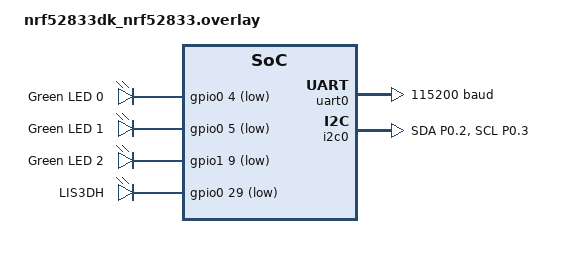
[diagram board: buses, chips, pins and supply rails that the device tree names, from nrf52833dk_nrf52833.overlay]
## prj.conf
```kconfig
CONFIG_BT=y
CONFIG_GPIO=y
CONFIG_BT_DEBUG_LOG=y
CONFIG_BT_EXT_ADV=y
CONFIG_PM=y
CONFIG_PM_DEVICE=y
CONFIG_CBPRINTF_FP_SUPPORT=y
CONFIG_I2C=y
CONFIG_SENSOR=y
CONFIG_LOG=y
CONFIG_SERIAL=y
CONFIG_SENSOR_LOG_LEVEL_DBG=y
CONFIG_MULTITHREADING=y
CONFIG_STDOUT_CONSOLE=y

CONFIG_ADC=y
CONFIG_DEBUG_OPTIMIZATIONS=y
CONFIG_COMPILER_OPT=""
CONFIG_MAIN_STACK_SIZE=16365
CONFIG_IDLE_STACK_SIZE=1024
CONFIG_ISR_STACK_SIZE=4096
CONFIG_BT_CTLR_ADV_DATA_LEN_MAX=128
CONFIG_BT_PERIPHERAL=y

# ////////////////////////////////////////
# LE coded
CONFIG_BT=y
CONFIG_BT_EXT_ADV=y
CONFIG_BT_PER_ADV=y
CONFIG_BT_DEBUG_LOG=y
CONFIG_BT_DEVICE_NAME="My Device"
CONFIG_LOG=y
CONFIG_BT_CTLR_ADV_DATA_LEN_MAX=1650
CONFIG_SENSOR_LOG_LEVEL_DBG=y
CONFIG_BT_CTLR_PHY_CODED=y
CONFIG_PM=y
CONFIG_PM_DEVICE=y
CONFIG_CBPRINTF_FP_SUPPORT=y
CONFIG_I2C=y
CONFIG_SENSOR=y
# CONFIG_SHT4X=y

CONFIG_SERIAL=y
CONFIG_SENSOR_LOG_LEVEL_DBG=y
CONFIG_MULTITHREADING=y
CONFIG_STDOUT_CONSOLE=y
CONFIG_LIS2DH=y
CONFIG_PWM=y
CONFIG_LIS2DH_OPER_MODE_LOW_POWER=y 
CONFIG_LIS2DH_ACCEL_RANGE_2G=y
CONFIG_BT_CTLR_ADV_DATA_LEN_MAX=1650
CONFIG_ADC=y

CONFIG_DEBUG_OPTIMIZATIONS=y
CONFIG_DEBUG_THREAD_INFO=y
CONFIG_GPIO=y
CONFIG_GPIO_NRFX=y


#CONFIG_BT_CTLR_TX_PWR_0=y

#CONFIG_BT_CTLR_TX_PWR_PLUS_4=y

CONFIG_BT_CTLR_TX_PWR_PLUS_8=y

#CONFIG_BT_CTLR_TX_PWR_MINUS_4=y

#CONFIG_BT_CTLR_TX_PWR_MINUS_8=y

#CONFIG_BT_CTLR_TX_PWR_MINUS_12=y

#CONFIG_BT_CTLR_TX_PWR_MINUS_16=y

#CONFIG_BT_CTLR_TX_PWR_MINUS_20=y
```

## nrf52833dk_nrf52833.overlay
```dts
// To get started, press Ctrl+Space to bring up the completion menu and view the available nodes.

// You can also use the buttons in the sidebar to perform actions on nodes.
// Actions currently available include:

// * Enabling / disabling the node
// * Adding the bus to a bus
// * Removing the node
// * Connecting ADC channels

// For more help, browse the DeviceTree documentation at https://docs.zephyrproject.org/latest/guides/dts/index.html
// You can also visit the nRF DeviceTree extension documentation at https://nrfconnect.github.io/vscode-nrf-connect/devicetree/nrfdevicetree.html
&uart0 {
	status = "okay";
	current-speed = < 115200 >;
};

// &pinctrl {
//     uart0_default: uart0_default {
//         group1 {
//             psels = <NRF_PSEL(UART_TX, 0, 24)>,
//                 <NRF_PSEL(UART_RX, 0, 23)>,
//                 <NRF_PSEL(UART_RTS, 0, 5)>,
//                 <NRF_PSEL(UART_CTS, 0, 7)>;
//         };
//     };

//     uart0_sleep: uart0_sleep {
//         group1 {
//             psels = <NRF_PSEL(UART_TX, 0,24)>,
//                 <NRF_PSEL(UART_RX, 0, 23)>,
//                 <NRF_PSEL(UART_RTS, 0, 5)>,
//                 <NRF_PSEL(UART_CTS, 0, 7)>;
//             low-power-enable;
//         };
//     };
// };







// -----------------------------------
// &i2c0 {
//     compatible = "nordic,nrf-twim";
//     status = "okay";

//     clock-frequency = <I2C_BITRATE_STANDARD>;

//     lis2dh@19 {
//         status = "okay";
//         compatible = "st,lis2dh";
//         reg = <0x19>;
       
//         label = "LIS2DH";
        
//     };
// };




////////////////////////For 52833 node


/{leds {
    compatible = "gpio-leds";
    led0: led_0 {
        gpios = <&gpio0 4 GPIO_ACTIVE_LOW>;
        label = "Green LED 0";
    };
    led1: led_1 {
        gpios = <&gpio0 5 GPIO_ACTIVE_LOW>;
        label = "Green LED 1";
    };
    led2: led_2 {
        gpios = <&gpio1 9 GPIO_ACTIVE_LOW>;
        label = "Green LED 2";
    };
    led3: led_3 {
        gpios = <&gpio0 29 GPIO_ACTIVE_LOW>;
        label = "LIS3DH";
    };
};
aliases {
    led0 = &led0;
    led1 = &led1;
    led2 = &led2;
    led3 = &led3;
};
};
&i2c0 {
compatible = "nordic,nrf-twi";
status = "okay";
pinctrl-0 = <&i2c0_default>;
pinctrl-1 = <&i2c0_sleep>;
pinctrl-names = "default", "sleep";
};
&pinctrl {
i2c0_default: i2c0_default {
    group1 {
        psels = <NRF_PSEL(TWIM_SDA, 0, 2)>,
                <NRF_PSEL(TWIM_SCL, 0, 3)>;
    };
};

i2c0_sleep: i2c0_sleep {
    group1 {
        psels = <NRF_PSEL(TWIM_SDA, 0, 2)>,
                <NRF_PSEL(TWIM_SCL, 0, 3)>;
        low-power-enable;
    };
};
uart0_default: uart0_default {
    group1 {
        psels = <NRF_PSEL(UART_TX, 0, 15)>;		
    };
    group2 {
        psels = <NRF_PSEL(UART_RX, 0,17)>;		
        bias-pull-up;
    };
};

uart0_sleep: uart0_sleep {
    group1 {
        psels = <NRF_PSEL(UART_TX, 0, 15)>,
            <NRF_PSEL(UART_RX, 0, 17)>;
        low-power-enable;
    };
};
};
```

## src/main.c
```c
#include <zephyr/bluetooth/bluetooth.h> // header files for the project
#include <zephyr/kernel.h>
#include <zephyr/drivers/gpio.h>
#include <zephyr/device.h>
#include <zephyr/pm/pm.h>
#include <hal/nrf_gpio.h>
#include <zephyr/logging/log.h>
#include <zephyr/drivers/sensor.h>

struct bt_le_ext_adv *adv; // Declaration of a pointer variable named 'adv'
LOG_MODULE_REGISTER(TRANSMETER,LOG_LEVEL_DBG);
#define LED0_NODE DT_ALIAS(led0)
#define LED1_NODE DT_ALIAS(led1)
#define LED2_NODE DT_ALIAS(led2)


static const struct gpio_dt_spec led = GPIO_DT_SPEC_GET(LED0_NODE, gpios);
static const struct gpio_dt_spec led12 = GPIO_DT_SPEC_GET(LED1_NODE, gpios);
static const struct gpio_dt_spec led22 = GPIO_DT_SPEC_GET(LED2_NODE, gpios);

int err;
/* Button variables */
static uint32_t time, last_time; /* used for detecting long button press */
// static uint32_t button_counter = 0; // Static variable 'button_counter' of type uint32_t (unsigned 32-bit integer) initialized to 0
int button_tick = 0;  /* Integer variable 'button_tick' initialized to 0 */
int sleep_flag = 1;   /* Integer variable 'button_tick' initialized to 0 */
int counter = 1;     /*  Integer variable 'counter' initialized to 1 */

//---for le coded
struct bt_le_adv_param adv_param = BT_LE_ADV_PARAM_INIT(BT_LE_ADV_OPT_EXT_ADV | BT_LE_ADV_OPT_USE_IDENTITY | BT_LE_ADV_OPT_CODED,
                                                        0x30, //  0x12C0,
                                                        0x30, // 0x12C0,  //advertising interval is set to 3 seconds

                                                        NULL);

struct bt_le_ext_adv_start_param ext_adv_param = BT_LE_EXT_ADV_START_PARAM_INIT(0, 1); // number of events is set to 2.
static uint8_t mfg_data[8]={0};  
  
                                                    // Static array 'mfg_data' of type uint8_t (unsigned 8-bit integer) with 8 elements, initialized to 0
static const struct bt_data ad[] = {
    BT_DATA(BT_DATA_MANUFACTURER_DATA, mfg_data, 8), // Static constant array 'ad' of struct bt_data type, containing a single element
};

 /* function for creating a random static address and setting it as the identity address of the device. */
static void set_random_static_address(void) // Print a message indicating the start of the iBeacon Demo
{

        printk("::::::::::::::Starting LE-CODED Transmeter:::::::::::\n");  /* Print a message indicating the start of the iBeacon Demo */

        bt_addr_le_t addr; // Declaration of a Bluetooth Low Energy address structure variable named 'addr'
        int err;
        // err = bt_addr_le_from_str("DE:AD:BE:AF:BA:11", "random", &addr);      /* public address for check */
        err = bt_addr_le_from_str("FA:17:DF:DF:4B:89", "random", &addr);        // gateway address
        // err = bt_addr_le_from_str("CE:AD:BE:AF:BA:11","random" , &addr);     // gateway address
        // err = bt_addr_le_from_str("DE:AD:BE:AF:BA:11", "random", &addr);     // device address

        if (err)
        {
                printk("Invalid BT address (err %d)\n",err); // Print an error message with the error code
        }

        /* create a new Identity address. This must be done before enabling Bluetooth. Addr is the address used for the new identity */
        err = bt_id_create(&addr, NULL); /*  Create a new Bluetooth ID using the provided address (addr) and no additional parameters */

        if (err < 0) /* Check if error occurred during initialization */
        {
                printk("Creating new ID failed (err %d)\n", err); /*  Print an error message if creating the new ID failed */
        }
        printk("Created new address\n");  /* Print a message indicating that a new address has been successfully created */
}
void bt_data(){
        mfg_data[1]=450;  

}

 /* function to create the extended advertising set using the advertising parameters. */
void adv_param_init(void)
{
        int err;  /* Declaration of the error variable to store return codes or error status */

        err = bt_le_ext_adv_create(&adv_param, NULL, &adv); // /* Create a new extended advertising instance and store the return code in 'err' */

        if (err) // /* Check if an error occurred during extended advertising creation */
        {
                printk("Failed to create advertising set (err %d)\n", err); // /* Print an error message indicating failed advertising set creation with the specific error code */
                return;                                                     // /* Exit the function early due to the failed advertising set creation */
        }
        printk("Created extended advertising set \n"); // /* Print a message indicating successful creation of an extended advertising set */
}

void start_adv(void)
{       

        mfg_data[0]=counter;
        bt_data();
        err = bt_le_ext_adv_set_data(adv, ad, ARRAY_SIZE(ad), NULL, 0); /* Set extended advertising data for the advertising instance 'adv' using the advertisement data 'ad' array */
        if (err)                                                        /* Check if an error occurred while setting extended advertising data */
        {
                printk("Failed (err %d)\n", err); // Print an error message indicating the failure and include the error code in the message
                return;                           // Exit the current function due to the failure in the previous operation
        }
        printk("Start Extended Advertising...\n");  
        printk("%s Is sent to receiver",mfg_data);     // Print a message indicating the start of extended advertising
        
        err = bt_le_ext_adv_start(adv, &ext_adv_param); // BT_LE_EXT_ADV_START_DEFAULT);

        if (err) /* Check if an error occurred while setting extended advertising data */
        {
                printk("Failed to start extended advertising " // Print a message indicating the failing of the start extended advertising
                       "(err %d)\n",
                       err);
                return; // Exit the current function due to the failure in the previous operation
        }
        printk("done.\n");

        nrf_gpio_pin_set(DT_GPIO_PIN(DT_NODELABEL(led0), gpios)); 
        gpio_pin_toggle_dt(&led22);
        nrf_gpio_pin_toggle(DT_GPIO_PIN(DT_NODELABEL(led1), gpios));
        k_msleep(500); // delay time
        // K_MSEC(500);
        bt_le_ext_adv_stop(adv);                /*  Stop extended advertising for the advertising instance 'adv' */
        printk("Stopped advertising..!!\n");    /*  Print a message indicating that advertising has been stopped */
        
        counter++;
        start_adv(); 
          
                                  /* Call a function named 'start_adv' to initiate advertising again */
}

int j = 0;

void main() 
{

 
        nrf_gpio_cfg_output(DT_GPIO_PIN(DT_NODELABEL(led1), gpios));
        /* Create a random static address and set it as the identity address of the device */
        set_random_static_address();

        /* Initialize the Bluetooth Subsystem */
        err = bt_enable(NULL); // Enable Bluetooth functionality with default parameters
        if (err)
        {
                printk("Bluetooth init failed (err %d)\n", err); // print a  message indicating that bluetooth initialization is failed
                return;
        }
        adv_param_init(); // Initialize advertising parameters
        start_adv();      // Start advertising
}
```
